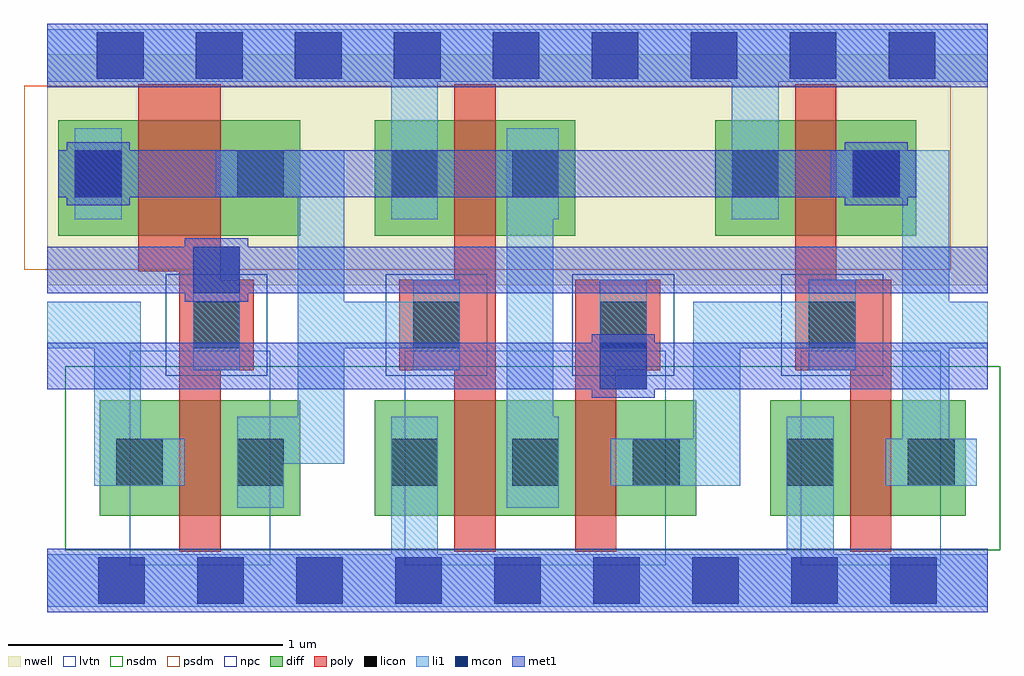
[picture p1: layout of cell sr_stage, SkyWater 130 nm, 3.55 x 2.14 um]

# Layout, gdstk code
import gdstk
lib = gdstk.Library(unit=1e-6, precision=1e-09)
def R(c, l, rs):  # rectangles x0, y0, x1, y1
    for r in rs: c.add(gdstk.rectangle(r[:2], r[2:], *l))
def A(c, l, x, y, w, h, nx, ny, dx, dy):  # array of equal rectangles
    R(c, l, [(x+i*dx, y+j*dy, x+i*dx+w, y+j*dy+h) for i in range(nx) for j in range(ny)])
nwell = (64, 20)
diff = (65, 20)
poly = (66, 20)
licon = (66, 44)
li1 = (67, 20)
mcon = (67, 44)
met1 = (68, 20)
nsdm = (93, 44)
psdm = (94, 20)
npc = (95, 20)
lvtn = (125, 44)

sr_stage = lib.new_cell('sr_stage')
R(sr_stage, nwell, [(0,1.19,3.42,2.03)])
R(sr_stage, diff, [(0.19,0.35,0.92,0.77), (1.19,0.35,2.36,0.77), (2.63,0.35,3.34,0.77), (0.04,1.37,0.92,1.79), (1.19,1.37,1.92,1.79), (2.43,1.37,3.16,1.79)])
R(sr_stage, poly, [(0.48,0.22,0.63,0.88), (1.48,0.22,1.63,0.88), (1.92,0.22,2.07,0.88), (2.92,0.22,3.07,0.88), (0.48,0.88,0.75,1.21), (1.28,0.88,1.63,1.21), (1.92,0.88,2.23,1.21), (2.72,0.88,3.07,1.21), (0.48,1.21,0.63,1.24), (1.48,1.21,1.63,1.92), (2.72,1.21,2.87,1.92), (0.33,1.24,0.63,1.92)])
A(sr_stage, licon, 1.25, 0.46, 0.17, 0.17, 3, 1, 0.44, 0)
R(sr_stage, licon, [(0.25,0.46,0.42,0.63), (0.69,0.46,0.86,0.63), (2.69,0.46,2.86,0.63), (3.13,0.46,3.3,0.63), (0.53,0.96,0.7,1.13), (1.33,0.96,1.5,1.13), (2.01,0.96,2.18,1.13), (2.77,0.96,2.94,1.13), (0.1,1.51,0.27,1.68), (0.69,1.51,0.86,1.68), (1.25,1.51,1.42,1.68), (1.69,1.51,1.86,1.68), (2.49,1.51,2.66,1.68), (2.93,1.51,3.1,1.68)])
R(sr_stage, li1, [(0,0.02,3.42,0.21), (1.25,0.21,1.42,0.71), (2.69,0.21,2.86,0.71), (0.69,0.38,0.86,0.54), (1.67,0.38,1.86,0.71), (0.17,0.46,0.5,0.63), (2.05,0.46,2.52,0.63), (3.05,0.46,3.38,0.63), (0.69,0.54,1.08,0.71), (0.17,0.63,0.34,0.96), (2.35,0.63,2.52,0.96), (3.11,0.63,3.28,0.96), (0.91,0.71,1.08,0.96), (1.67,0.71,1.84,1.43), (2.01,0.81,2.18,1.21), (0.53,0.88,0.7,1.33), (1.33,0.88,1.5,0.96), (2.77,0.88,2.94,0.96), (0,0.96,0.34,1.13), (0.91,0.96,1.5,1.13), (2.35,0.96,2.94,1.13), (3.11,0.96,3.42,1.13), (0.91,1.13,1.08,1.51), (1.33,1.13,1.5,1.21), (2.77,1.13,2.94,1.21), (3.11,1.13,3.28,1.51), (0.1,1.43,0.27,1.76), (1.25,1.43,1.42,1.93), (1.67,1.43,1.86,1.76), (2.49,1.43,2.66,1.93), (0.61,1.51,1.08,1.68), (2.85,1.51,3.28,1.68), (0,1.93,3.42,2.12)])
A(sr_stage, mcon, 0.185, 0.03, 0.17, 0.17, 9, 1, 0.36, 0)
A(sr_stage, mcon, 0.18, 1.94, 0.17, 0.17, 9, 1, 0.36, 0)
R(sr_stage, mcon, [(2.01,0.81,2.18,0.98), (0.53,1.16,0.7,1.33), (0.1,1.51,0.27,1.68), (2.93,1.51,3.1,1.68)])
R(sr_stage, met1, [(0,0,3.42,0.23), (1.98,0.78,2.21,0.81), (0,0.81,3.42,0.98), (1.98,0.98,2.21,1.01), (0.5,1.13,0.73,1.16), (0,1.16,3.42,1.33), (0.5,1.33,0.73,1.36), (0.07,1.48,0.3,1.51), (2.9,1.48,3.13,1.51), (0.04,1.51,3.16,1.68), (0.07,1.68,0.3,1.71), (2.9,1.68,3.13,1.71), (0,1.91,3.42,2.14)])
R(sr_stage, nsdm, [(0.065,0.225,3.465,0.895)])
R(sr_stage, psdm, [(-0.085,1.245,3.285,1.915)])
R(sr_stage, npc, [(0.43,0.86,0.8,1.23), (1.23,0.86,1.6,1.23), (1.91,0.86,2.28,1.23), (2.67,0.86,3.04,1.23)])
R(sr_stage, lvtn, [(0.3,0.17,0.81,0.95), (1.3,0.17,2.25,0.95), (2.74,0.17,3.25,0.95)])

lib.write_gds('sr_stage.gds')
